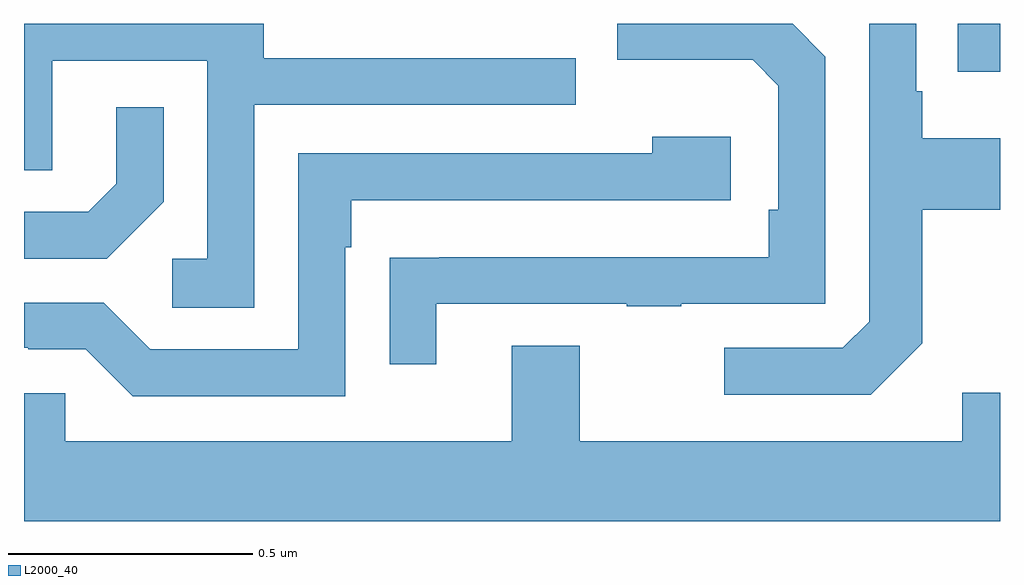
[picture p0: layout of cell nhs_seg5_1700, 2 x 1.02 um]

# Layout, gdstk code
import gdstk
lib = gdstk.Library(unit=1e-6, precision=1e-09)
def R(c, l, rs):  # rectangles x0, y0, x1, y1
    for r in rs: c.add(gdstk.rectangle(r[:2], r[2:], *l))
def P(c, l, *ps):  # polygons
    for p in ps: c.add(gdstk.Polygon(p, *l))
L2000_40 = (2000, 40)

nhs_seg5_1700 = lib.new_cell('nhs_seg5_1700')
R(nhs_seg5_1700, L2000_40, [(135.913,837.701,136,837.799)])
P(nhs_seg5_1700, L2000_40, [(135.841,837.145),(135.841,837.418),(136,837.418),(136,837.565),(135.841,837.565),(135.841,837.661),(135.828,837.661),(135.828,837.799),(135.732,837.799),(135.732,837.189),(135.678,837.135),(135.435,837.135),(135.435,837.039),(135.735,837.039)],
  [(134.845,837.225),(135.235,837.225),(135.235,837.22),(135.347,837.22),(135.347,837.225),(135.642,837.225),(135.642,837.732),(135.575,837.799),(135.216,837.799),(135.216,837.725),(135.493,837.725),(135.546,837.672),(135.546,837.418),(135.526,837.418),(135.526,837.321),(134.851,837.321),(134.851,837.32),(134.749,837.32),(134.749,837.102),(134.845,837.102)],
  [(134.472,837.633),(135.131,837.633),(135.131,837.729),(134.491,837.729),(134.491,837.799),(134,837.799),(134,837.499),(134.058,837.499),(134.058,837.723),(134.376,837.723),(134.376,837.318),(134.304,837.318),(134.304,837.217),(134.472,837.217)],
  [(134.286,837.434),(134.286,837.628),(134.189,837.628),(134.189,837.471),(134.132,837.414),(134,837.414),(134,837.318),(134.17,837.318)],
  [(134.658,837.341),(134.671,837.341),(134.671,837.438),(135.448,837.438),(135.448,837.568),(135.287,837.568),(135.287,837.534),(134.562,837.534),(134.562,837.132),(134.259,837.132),(134.163,837.228),(134,837.228),(134,837.135),(134.009,837.135),(134.009,837.132),(134.127,837.132),(134.223,837.036),(134.658,837.036)],
  [(136,837.043),(135.923,837.043),(135.923,836.944),(135.139,836.944),(135.139,837.139),(134.999,837.139),(134.999,836.944),(134.085,836.944),(134.085,837.042),(134,837.042),(134,836.78),(136,836.78)])

lib.write_gds('nhs_seg5_1700.gds')
